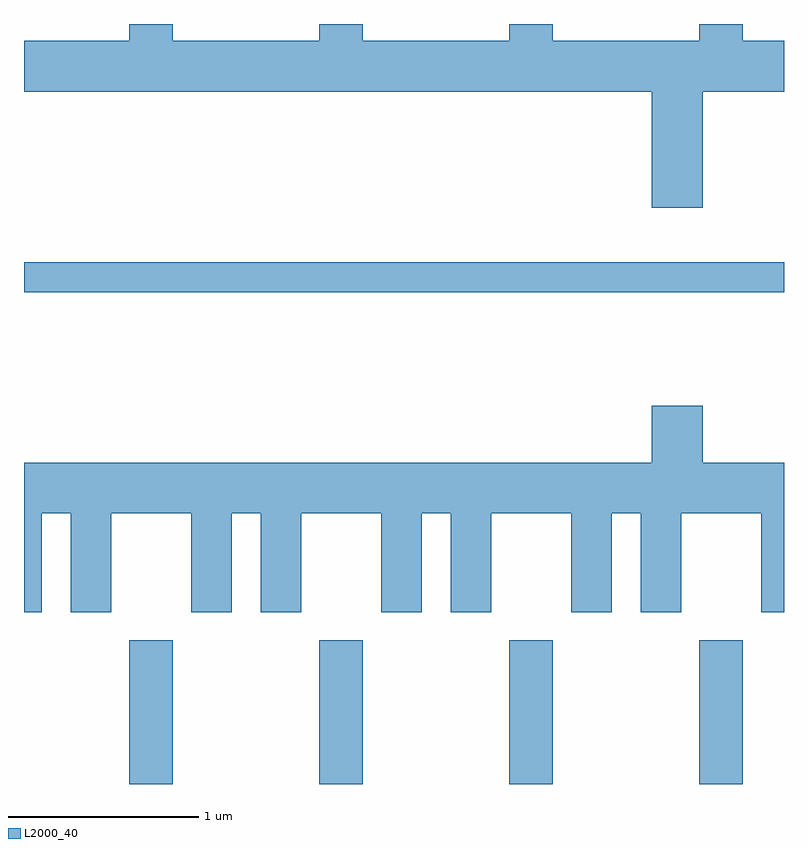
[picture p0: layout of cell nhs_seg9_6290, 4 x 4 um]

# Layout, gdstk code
import gdstk
lib = gdstk.Library(unit=1e-6, precision=1e-09)
def R(c, l, rs):  # rectangles x0, y0, x1, y1
    for r in rs: c.add(gdstk.rectangle(r[:2], r[2:], *l))
def A(c, l, x, y, w, h, nx, ny, dx, dy):  # array of equal rectangles
    R(c, l, [(x+i*dx, y+j*dy, x+i*dx+w, y+j*dy+h) for i in range(nx) for j in range(ny)])
def P(c, l, *ps):  # polygons
    for p in ps: c.add(gdstk.Polygon(p, *l))
L2000_40 = (2000, 40)

nhs_seg9_6290 = lib.new_cell('nhs_seg9_6290')
A(nhs_seg9_6290, L2000_40, 372.166, 1950.432, 0.228, 0.757, 4, 1, 1, 0)
R(nhs_seg9_6290, L2000_40, [(371.611,1953.021,375.611,1953.179)])
P(nhs_seg9_6290, L2000_40, [(375.184,1954.076),(375.611,1954.076),(375.611,1954.344),(375.394,1954.344),(375.394,1954.432),(375.166,1954.432),(375.166,1954.344),(374.394,1954.344),(374.394,1954.432),(374.166,1954.432),(374.166,1954.344),(373.394,1954.344),(373.394,1954.432),(373.166,1954.432),(373.166,1954.344),(372.394,1954.344),(372.394,1954.432),(372.166,1954.432),(372.166,1954.344),(371.611,1954.344),(371.611,1954.076),(374.916,1954.076),(374.916,1953.466),(375.184,1953.466)],
  [(371.704,1951.856),(371.856,1951.856),(371.856,1951.336),(372.069,1951.336),(372.069,1951.856),(372.491,1951.856),(372.491,1951.336),(372.704,1951.336),(372.704,1951.856),(372.856,1951.856),(372.856,1951.336),(373.069,1951.336),(373.069,1951.856),(373.491,1951.856),(373.491,1951.336),(373.704,1951.336),(373.704,1951.856),(373.856,1951.856),(373.856,1951.336),(374.069,1951.336),(374.069,1951.856),(374.491,1951.856),(374.491,1951.336),(374.704,1951.336),(374.704,1951.856),(374.856,1951.856),(374.856,1951.336),(375.069,1951.336),(375.069,1951.856),(375.491,1951.856),(375.491,1951.336),(375.611,1951.336),(375.611,1952.124),(375.184,1952.124),(375.184,1952.424),(374.916,1952.424),(374.916,1952.124),(371.611,1952.124),(371.611,1951.336),(371.704,1951.336)])

lib.write_gds('nhs_seg9_6290.gds')
